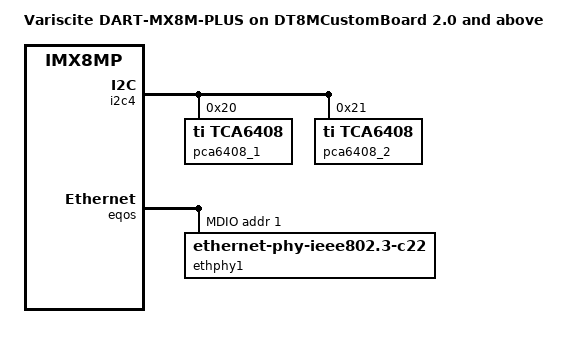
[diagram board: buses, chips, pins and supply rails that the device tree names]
// SPDX-License-Identifier: (GPL-2.0+ OR MIT)
/*
 * Copyright 2019 NXP
 * Copyright 2020-2021 Variscite Ltd.
 */

#include "imx8mp-var-dart.dtsi"
#include "imx8mp-var-dart-dt8mcustomboard-common.dtsi"

/ {
	model = "Variscite DART-MX8M-PLUS on DT8MCustomBoard 2.0 and above";

	aliases {
		gpio5 = &pca6408_1;
		gpio6 = &pca6408_2;
	};
};

&i2c4 {
	pca6408_1: gpio@20 {
		compatible = "ti,tca6408";
		reg = <0x20>;
		gpio-controller;
		#gpio-cells = <2>;
	};

	pca6408_2: gpio@21 {
		compatible = "ti,tca6408";
		reg = <0x21>;
		gpio-controller;
		#gpio-cells = <2>;

		eth1_phy_rst_hog {
			gpio-hog;
			gpios = <0 0>;
			output-high;
			line-name = "eth1_phy_rst";
		};
	};
};

&eqos {
	mdio {
		ethphy1: ethernet-phy@1 {
			compatible = "ethernet-phy-ieee802.3-c22";
			reg = <1>;
			at803x,eee-disabled;
			at803x,vddio-1p8v;
			eee-broken-1000t;
		};
	};
};

&fec {
	pinctrl-names = "default";
	pinctrl-0 = <&pinctrl_fec>;
	phy-mode = "rgmii";
	phy-handle = <&ethphy1>;
	status = "disabled";
};

&iomuxc {
	pinctrl_fec: fecgrp {
		fsl,pins = <
			MX8MP_IOMUXC_SAI1_RXD4__ENET1_RGMII_RD0				0x91
			MX8MP_IOMUXC_SAI1_RXD5__ENET1_RGMII_RD1				0x91
			MX8MP_IOMUXC_SAI1_RXD6__ENET1_RGMII_RD2				0x91
			MX8MP_IOMUXC_SAI1_RXD7__ENET1_RGMII_RD3				0x91
			MX8MP_IOMUXC_SAI1_TXC__ENET1_RGMII_RXC				0x91
			MX8MP_IOMUXC_SAI1_TXFS__ENET1_RGMII_RX_CTL			0x91
			MX8MP_IOMUXC_SAI1_TXD0__ENET1_RGMII_TD0				0x00
			MX8MP_IOMUXC_SAI1_TXD1__ENET1_RGMII_TD1				0x00
			MX8MP_IOMUXC_SAI1_TXD2__ENET1_RGMII_TD2				0x00
			MX8MP_IOMUXC_SAI1_TXD3__ENET1_RGMII_TD3				0x00
			MX8MP_IOMUXC_SAI1_TXD4__ENET1_RGMII_TX_CTL			0x00
			MX8MP_IOMUXC_SAI1_TXD5__ENET1_RGMII_TXC				0x00
		>;
	};
};
